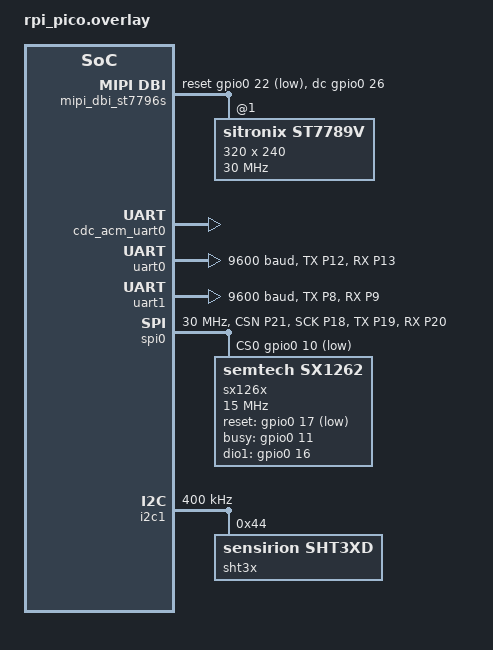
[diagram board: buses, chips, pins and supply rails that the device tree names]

/delete-node/ &code_partition;
#include <raspberrypi/partitions_2M_sysbuild.dtsi>

&flash0 {
	status = "okay";

	partitions {
		compatible = "fixed-partitions";
		#address-cells = < 0x1 >;
		#size-cells = < 0x1 >;

		second_stage_bootloader: partition@0 {
			label = "second_stage_bootloader";
			reg = < 0x0 0x100 >;
			read-only;
		};

		boot_partition: partition@100 {
			label = "mcuboot";
			reg = < 0x100 0xfe00 >;
		};

		slot0_partition: partition@10000 {
			label = "image-0";
			reg = < 0x10000 0x40000 >;
		};

		slot1_partition: partition@E0000 {
			label = "image-1";
			reg = < 0xe0000 0x40000 >;
		};

		storage_partition: partition@1B0000 {
			label = "storage";
			reg = < 0x1b0000 0x50000 >;
		};
	};
};

/ {
    chosen {
		zephyr,console = &cdc_acm_uart0;
		zephyr,shell-uart = &cdc_acm_uart0;
		zephyr,display = &st7789v;
		zephyr,code-partition = &slot0_partition;

    };

	aliases {
		sht3x-sensor = &sht3x;
		cm1106-uart = &uart0;
		pms-uart = &uart1;
		lora0 = &sx126x;
	};

	mipi_dbi_st7796s {
		status = "okay";
		compatible = "zephyr,mipi-dbi-spi";
		spi-dev = <&spi0>;
		dc-gpios = <&gpio0 26 GPIO_ACTIVE_HIGH>;	/* D9 */
		reset-gpios = <&gpio0 22 GPIO_ACTIVE_LOW>;
		write-only;
		#address-cells = <1>;
		#size-cells = <0>;

		st7789v: st7789v@1 {
			status = "okay";
			compatible = "sitronix,st7789v";
			mipi-max-frequency = <DT_FREQ_M(30)>;
			reg = <1>;
			width = <320>;
			height = <240>;
			x-offset = <0>;
			y-offset = <0>;
			vcom = <0x19>;
			gctrl = <0x35>;
			vrhs = <0x12>;
			vdvs = <0x20>;
			mdac = <0x60>;
			gamma = <0x01>;
			colmod = <0x05>;
			lcm = <0x2c>;
			porch-param = [0c 0c 00 33 33];
			cmd2en-param = [5a 69 02 01];
			pwctrl1-param = [a4 a1];
			pvgam-param = [D0 04 0D 11 13 2B 3F 54 4C 18 0D 0B 1F 23];
			nvgam-param = [D0 04 0C 11 13 2C 3F 44 51 2F 1F 1F 20 23];
			ram-param = [00 F0];
			rgb-param = [CD 08 14];
			mipi-mode = "MIPI_DBI_MODE_SPI_4WIRE";
			inversion-off;
		};
	};
};

&zephyr_udc0 {
	cdc_acm_uart0: cdc_acm_uart0 {
		compatible = "zephyr,cdc-acm-uart";
	};
};

&uart0 {
	current-speed = <9600>;
	status = "okay";
	pinctrl-0 = <&uart0_default>;
	pinctrl-names = "default";
};

&uart1 {
	current-speed = <9600>;
	status = "okay";
	pinctrl-0 = <&uart1_default>;
	pinctrl-names = "default";
};

&spi0 {
	clock-frequency = <DT_FREQ_M(30)>;
	status = "okay";
	pinctrl-0 = <&spi0_default>;
	pinctrl-names = "default";
	cs-gpios = <&gpio0 10 GPIO_ACTIVE_LOW>,
			   <&gpio0 21 GPIO_ACTIVE_LOW>;

	sx126x: sx126x@0 {
		status = "okay";
		compatible = "semtech,sx1262";
		reg = <0>;
		spi-max-frequency = <DT_FREQ_M(15)>;
		reset-gpios = <&gpio0 17 GPIO_ACTIVE_LOW>;
		busy-gpios = <&gpio0 11 GPIO_ACTIVE_HIGH>;
		dio1-gpios = <&gpio0 16 GPIO_ACTIVE_HIGH>;
		dio2-tx-enable;
	};
};

&i2c1 {
	pinctrl-0 = <&i2c1_default>;
	pinctrl-names = "default";
	status = "okay";
	clock-frequency = <I2C_BITRATE_FAST>;

	sht3x: sht3xd@44 {
		compatible = "sensirion,sht3xd";
		reg = <0x44>;
	};

};

&pinctrl {
	uart0_default: uart0_default {
		group1 {
			pinmux = <UART0_TX_P12>;
		};
		group2 {
			pinmux = <UART0_RX_P13>;
			input-enable;
		};
	};

	uart1_default: uart1_default {
		group1 {
			pinmux = <UART1_TX_P8>;
		};
		group2 {
			pinmux = <UART1_RX_P9>;
			input-enable;
		};
	};

	spi0_default: spi0_default {
		group1 {
			pinmux = <SPI0_CSN_P21>, <SPI0_SCK_P18>, <SPI0_TX_P19>;
		};
		group2 {
			pinmux = <SPI0_RX_P20>;
			input-enable;
		};
	};

	i2c1_default: i2c1_default {
		group1 {
			pinmux = <I2C1_SDA_P14>, <I2C1_SCL_P15>;
			input-enable;
			input-schmitt-enable;
		};
	};

};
